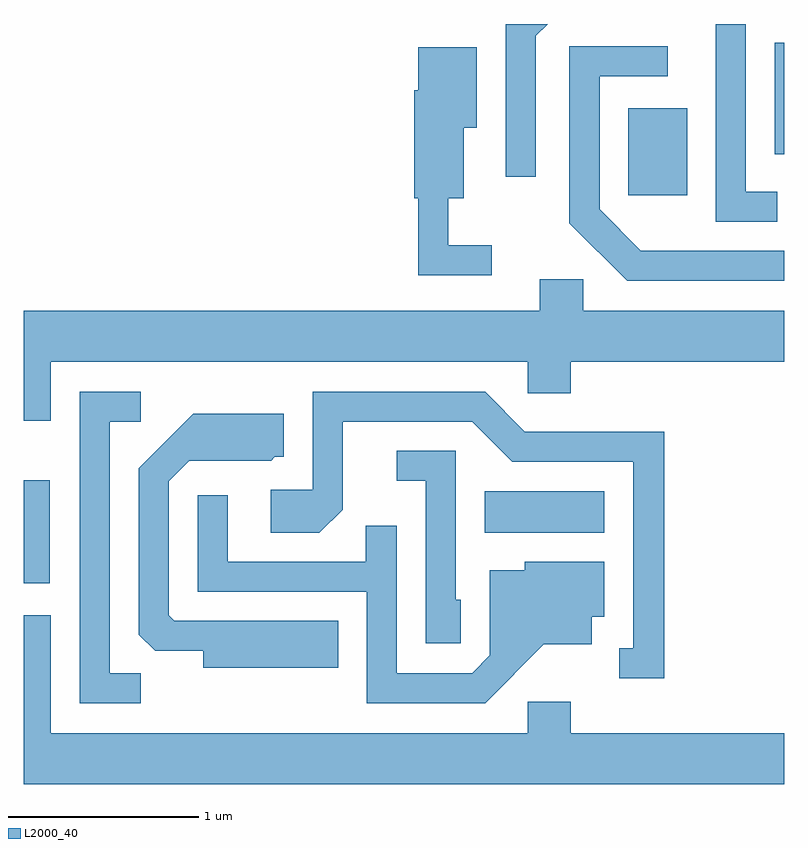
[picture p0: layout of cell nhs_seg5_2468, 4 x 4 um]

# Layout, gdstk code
import gdstk
lib = gdstk.Library(unit=1e-6, precision=1e-09)
def R(c, l, rs):  # rectangles x0, y0, x1, y1
    for r in rs: c.add(gdstk.rectangle(r[:2], r[2:], *l))
def P(c, l, *ps):  # polygons
    for p in ps: c.add(gdstk.Polygon(p, *l))
L2000_40 = (2000, 40)

nhs_seg5_2468 = lib.new_cell('nhs_seg5_2468')
R(nhs_seg5_2468, L2000_40, [(257.611,1511.131,257.749,1511.674), (260.036,1511.396,260.664,1511.614), (260.791,1513.171,261.099,1513.629), (261.561,1513.388,261.611,1513.974)])
P(nhs_seg5_2468, L2000_40, [(260.304,1514.009),(260.367,1514.072),(260.146,1514.072),(260.146,1513.268),(260.304,1513.268)],
  [(261.573,1513.189),(261.409,1513.189),(261.409,1514.072),(261.251,1514.072),(261.251,1513.031),(261.573,1513.031)],
  [(261.611,1512.879),(260.856,1512.879),(260.639,1513.097),(260.639,1513.796),(260.998,1513.796),(260.998,1513.954),(260.481,1513.954),(260.481,1513.024),(260.784,1512.721),(261.611,1512.721)],
  [(260.073,1512.909),(259.844,1512.909),(259.844,1513.156),(259.924,1513.156),(259.924,1513.526),(259.994,1513.526),(259.994,1513.949),(259.686,1513.949),(259.686,1513.724),(259.666,1513.724),(259.666,1513.156),(259.686,1513.156),(259.686,1512.751),(260.073,1512.751)],
  [(257.754,1512.296),(260.261,1512.296),(260.261,1512.131),(260.489,1512.131),(260.489,1512.296),(261.611,1512.296),(261.611,1512.564),(260.554,1512.564),(260.554,1512.729),(260.326,1512.729),(260.326,1512.564),(257.611,1512.564),(257.611,1511.986),(257.754,1511.986)],
  [(260.979,1511.929),(260.247,1511.929),(260.037,1512.139),(259.131,1512.139),(259.131,1511.624),(258.911,1511.624),(258.911,1511.396),(259.166,1511.396),(259.289,1511.519),(259.289,1511.981),(259.969,1511.981),(260.179,1511.771),(260.816,1511.771),(260.816,1510.789),(260.743,1510.789),(260.743,1510.631),(260.979,1510.631)],
  [(258.228,1510.659),(258.064,1510.659),(258.064,1511.981),(258.228,1511.981),(258.228,1512.139),(257.906,1512.139),(257.906,1510.501),(258.228,1510.501)],
  [(259.264,1510.934),(258.402,1510.934),(258.374,1510.962),(258.374,1511.669),(258.481,1511.776),(258.912,1511.776),(258.932,1511.796),(258.979,1511.796),(258.979,1512.024),(258.504,1512.024),(258.216,1511.737),(258.216,1510.862),(258.302,1510.776),(258.556,1510.776),(258.556,1510.686),(259.264,1510.686)],
  [(259.909,1511.044),(259.884,1511.044),(259.884,1511.829),(259.573,1511.829),(259.573,1511.671),(259.726,1511.671),(259.726,1510.816),(259.909,1510.816)],
  [(260.347,1510.811),(260.599,1510.811),(260.599,1510.956),(260.664,1510.956),(260.664,1511.244),(260.246,1511.244),(260.246,1511.199),(260.061,1511.199),(260.061,1510.752),(259.969,1510.659),(259.574,1510.659),(259.574,1511.433),(259.411,1511.433),(259.411,1511.244),(258.684,1511.244),(258.684,1511.593),(258.526,1511.593),(258.526,1511.086),(259.416,1511.086),(259.416,1510.501),(260.037,1510.501)],
  [(261.611,1510.344),(260.489,1510.344),(260.489,1510.509),(260.261,1510.509),(260.261,1510.344),(257.754,1510.344),(257.754,1510.964),(257.611,1510.964),(257.611,1510.076),(261.611,1510.076)])

lib.write_gds('nhs_seg5_2468.gds')
